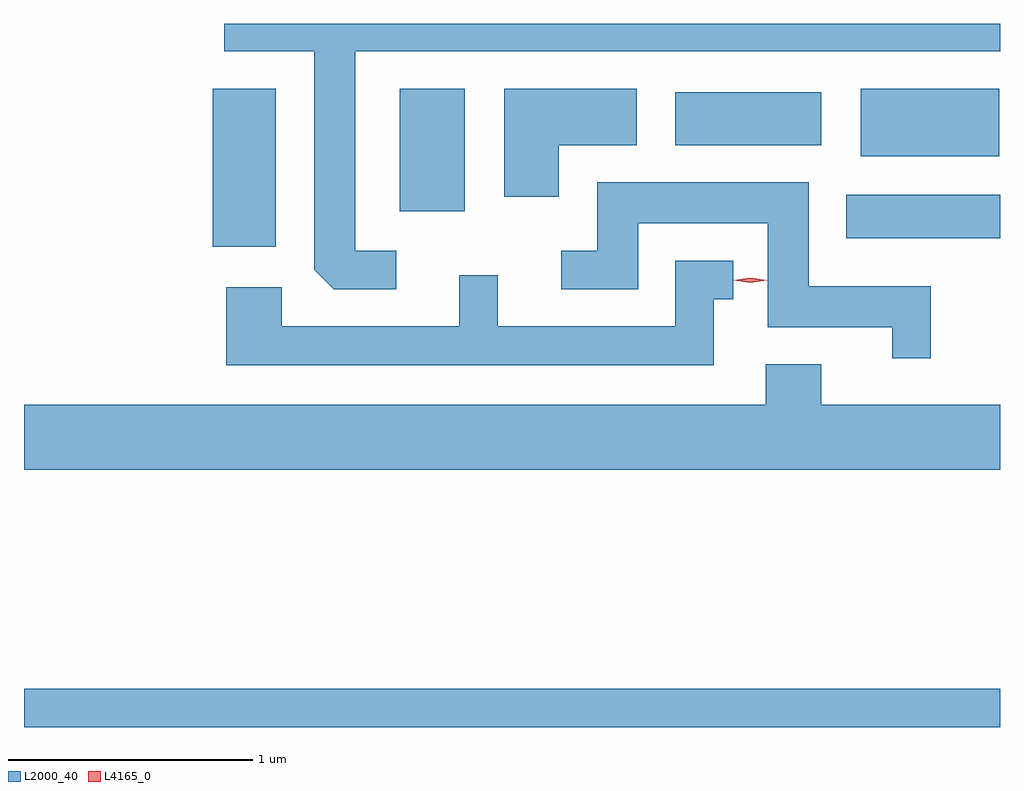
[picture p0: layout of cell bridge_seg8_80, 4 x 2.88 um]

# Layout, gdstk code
import gdstk
lib = gdstk.Library(unit=1e-6, precision=1e-09)
def R(c, l, rs):  # rectangles x0, y0, x1, y1
    for r in rs: c.add(gdstk.rectangle(r[:2], r[2:], *l))
def P(c, l, *ps):  # polygons
    for p in ps: c.add(gdstk.Polygon(p, *l))
L2000_40 = (2000, 40)
L4165_0 = (4165, 0)

bridge_seg8_80 = lib.new_cell('bridge_seg8_80')
R(bridge_seg8_80, L2000_40, [(1608.282,1806.501,1612.282,1806.659), (1609.056,1808.471,1609.314,1809.119), (1611.651,1808.506,1612.282,1808.684), (1609.821,1808.616,1610.089,1809.119), (1611.711,1808.841,1612.279,1809.119), (1610.951,1808.886,1611.549,1809.104)])
P(bridge_seg8_80, L2000_40, [(1609.808,1808.454),(1609.639,1808.454),(1609.639,1809.271),(1612.282,1809.271),(1612.282,1809.385),(1609.103,1809.385),(1609.103,1809.271),(1609.471,1809.271),(1609.471,1808.377),(1609.552,1808.296),(1609.808,1808.296)],
  [(1610.474,1808.886),(1610.794,1808.886),(1610.794,1809.119),(1610.251,1809.119),(1610.251,1808.676),(1610.474,1808.676)],
  [(1611.999,1808.309),(1611.499,1808.309),(1611.499,1808.734),(1610.631,1808.734),(1610.631,1808.454),(1610.483,1808.454),(1610.483,1808.296),(1610.799,1808.296),(1610.799,1808.566),(1611.331,1808.566),(1611.331,1808.141),(1611.841,1808.141),(1611.841,1808.013),(1611.999,1808.013)],
  [(1611.109,1808.256),(1611.188,1808.256),(1611.188,1808.414),(1610.951,1808.414),(1610.951,1808.144),(1610.224,1808.144),(1610.224,1808.353),(1610.066,1808.353),(1610.066,1808.144),(1609.339,1808.144),(1609.339,1808.304),(1609.111,1808.304),(1609.111,1807.986),(1611.109,1807.986)],
  [(1612.282,1807.824),(1611.549,1807.824),(1611.549,1807.989),(1611.321,1807.989),(1611.321,1807.824),(1608.282,1807.824),(1608.282,1807.556),(1612.282,1807.556)])
P(bridge_seg8_80, L4165_0, [(1611.258,1808.324),(1611.189,1808.333),(1611.189,1808.333),(1611.189,1808.334),(1611.258,1808.343),(1611.328,1808.334),(1611.328,1808.334),(1611.328,1808.333)])

lib.write_gds('bridge_seg8_80.gds')
